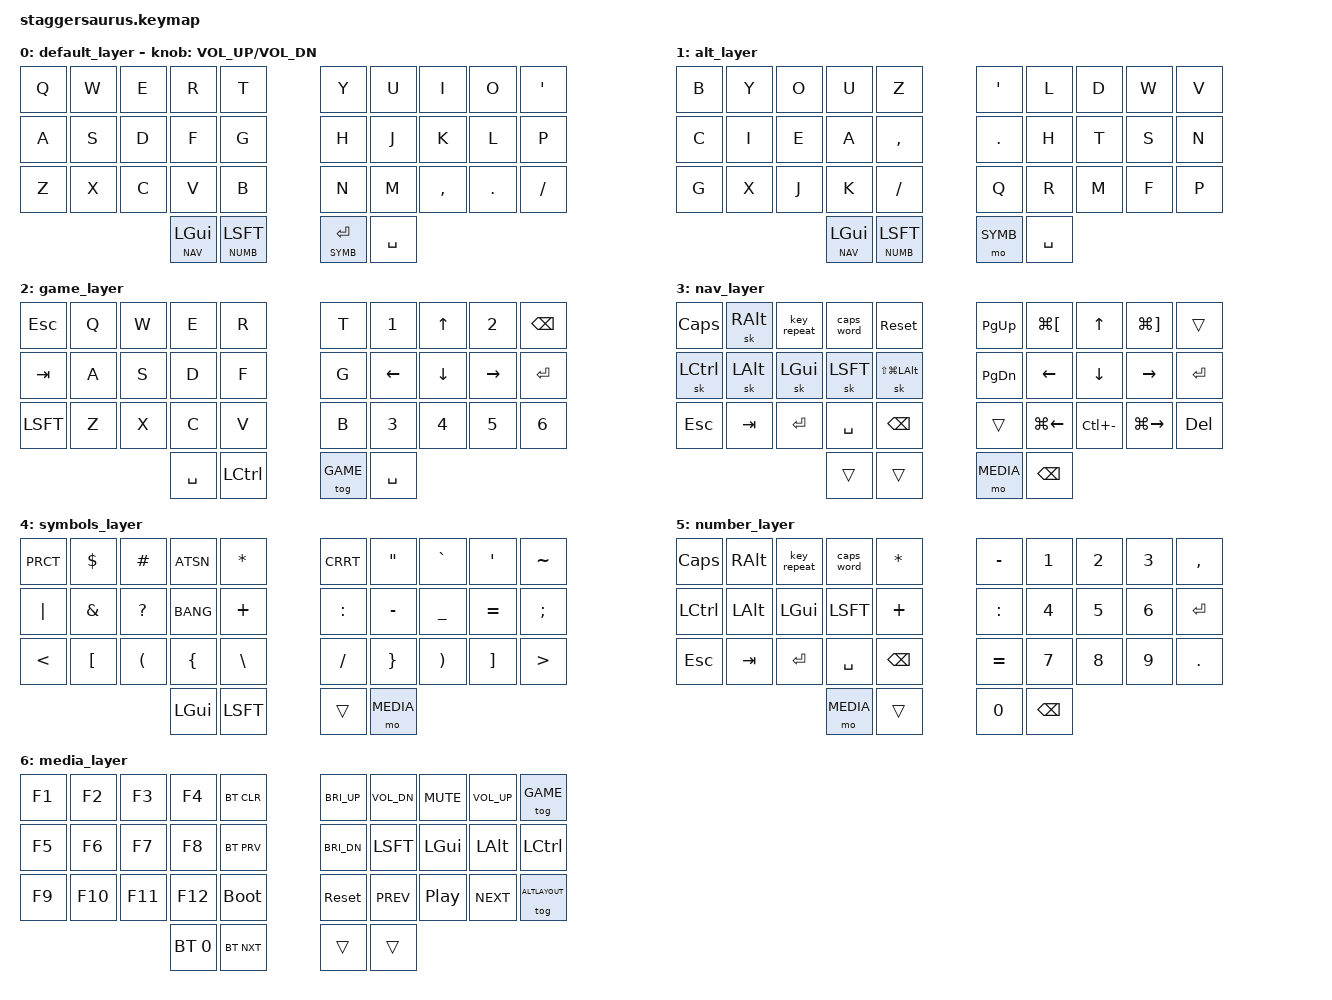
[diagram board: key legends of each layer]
/*
 * Copyright (c) 2020 The ZMK Contributors
 *
 * SPDX-License-Identifier: MIT
 */

#include <behaviors.dtsi>
#include <dt-bindings/zmk/keys.h>
#include <dt-bindings/zmk/bt.h>
// #include <dt-bindings/zmk/mouse.h>

#define DEFAULT 0
#define ALTLAYOUT 1
#define GAME 2
#define NAV 3
#define SYMB 4
#define NUMB 5
#define MEDIA 6
// #define MOUSE 7

&sk {
  release-after-ms = <500>;
  quick-release;
};

&sl {
  release-after-ms = <500>;
};

// &mmv {
//     time-to-max-speed-ms = <1000>;
//     acceleration-exponent=<1>;
// };

// &mwh {
//     time-to-max-speed-ms = <1000>;
//     acceleration-exponent=<1>;
// };

/ { 

  combos {
      compatible = "zmk,combos";
      combo_esc {
          timeout-ms = <50>;
          key-positions = <32 33>;
          bindings = <&kp ESC>;
      };
      combo_tab {
          timeout-ms = <50>;
          key-positions = <30 31>;
          bindings = <&kp TAB>;
      };
  };
  behaviors {
    uspace: underscore_space {
        compatible = "zmk,behavior-mod-morph";
        label = "UNDERSCORE_SPACE";
        #binding-cells = <0>;
        bindings = <&kp SPC>, <&kp UNDER>;
        mods = <(MOD_LSFT)>;
    };
    hlt: hold_layer_tap {
      compatible = "zmk,behavior-hold-tap";
      label = "HOLD_LAYER_TAP";
      #binding-cells = <2>;
      flavor = "hold-preferred";
      tapping-term-ms = <150>;
      bindings = <&mo>, <&kp>;
    };
    ml: mod_layer {
      compatible = "zmk,behavior-hold-tap";
      label = "MOD_LAYER";
      #binding-cells = <2>;
      flavor = "hold-preferred";
      tapping-term-ms = <150>;
      bindings = <&mo>, <&sk>;
    };
    hrm: home_row_mod {
        compatible = "zmk,behavior-hold-tap";
        label = "HOME_ROW_MOD";
        #binding-cells = <2>;
        flavor = "tap-preferred";
        tapping-term-ms = <200>;
        quick-tap-ms = <200>;
        require-prior-idle-ms = <125>;
        bindings = <&kp>, <&kp>;
    };
    // mouse_l: mouse_left {
    //   compatible = "zmk,behavior-mod-morph";
    //   label = "MOUSE_LEFT";
    //   #binding-cells = <0>;
    //   bindings = <&mmv MOVE_HOR(-5000)>, <&mmv MOVE_HOR(-2000)>;
    //   mods = <(MOD_LSFT|MOD_RSFT)>;
    // };
    // mouse_r: mouse_right {
    //   compatible = "zmk,behavior-mod-morph";
    //   label = "MOUSE_RIGHT";
    //   #binding-cells = <0>;
    //   bindings = <&mmv MOVE_HOR(5000)>, <&mmv MOVE_HOR(2000)>;
    //   mods = <(MOD_LSFT|MOD_RSFT)>;
    // };
    // mouse_u: mouse_up {
    //   compatible = "zmk,behavior-mod-morph";
    //   label = "MOUSE_UP";
    //   #binding-cells = <0>;
    //   bindings = <&mmv MOVE_VERT(-5000)>, <&mmv MOVE_VERT(-2000)>;
    //   mods = <(MOD_LSFT|MOD_RSFT)>;
    // };
    // mouse_d: mouse_down {
    //   compatible = "zmk,behavior-mod-morph";
    //   label = "MOUSE_DOWN";
    //   #binding-cells = <0>;
    //   bindings = <&mmv MOVE_VERT(5000)>, <&mmv MOVE_VERT(2000)>;
    //   mods = <(MOD_LSFT|MOD_RSFT)>;
    // };
  };

  keymap {
    compatible = "zmk,keymap";
    default_layer {
      bindings = <
        &kp Q        &kp W        &kp E        &kp R        &kp T           &kp Y  &kp U        &kp I        &kp O        &kp QUOT 
        &kp A        &kp S        &kp D        &kp F        &kp G           &kp H  &kp J        &kp K        &kp L        &kp P   
        &kp Z        &kp X        &kp C        &kp V        &kp B           &kp N  &kp M        &kp CMMA     &kp DOT      &kp FSLH
                                      &ml NAV LGUI  &ml NUMB LSFT           &hlt SYMB ENTER  &kp SPACE
      >;
      sensor-bindings = <&inc_dec_kp C_VOL_UP C_VOL_DN>;
    };

    // engram
    alt_layer {
      bindings = <
        &kp B  &kp Y  &kp O  &kp U  &kp Z              &kp QUOT  &kp L  &kp D  &kp W  &kp V 
        &kp C  &kp I  &kp E  &kp A  &kp CMMA           &kp DOT  &kp H  &kp T  &kp S  &kp N
        &kp G  &kp X  &kp J  &kp K  &kp FSLH           &kp Q  &kp R  &kp M  &kp F  &kp P
              &ml NAV LGUI  &ml NUMB LSFT              &mo SYMB  &kp SPC
      >;
    };

    game_layer {
      bindings = <
        &kp ESC  &kp Q  &kp W  &kp E  &kp R             &kp T  &kp N1  &kp UP  &kp N2  &kp BKSP 
        &kp TAB  &kp A  &kp S  &kp D  &kp F             &kp G  &kp LEFT  &kp DOWN  &kp RIGHT  &kp ENTER
        &kp LSFT  &kp Z  &kp X  &kp C  &kp V            &kp B  &kp N3  &kp N4  &kp N5  &kp N6
                          &kp SPC  &kp LCTL             &tog GAME  &kp SPC
        >;
    };

    nav_layer {
      bindings = <
        &kp CAPS  &sk RALT  &key_repeat   &caps_word  &sys_reset        &kp PG_UP     &kp LG(LBKT)    &kp UP          &kp LG(RBKT)    &trans 
        &sk LCTL  &sk LALT  &sk LGUI      &sk LSFT    &sk LS(LG(LALT))  &kp PG_DN     &kp LEFT        &kp DOWN        &kp RIGHT       &kp ENTER
        &kp ESC   &kp TAB   &kp ENTER     &kp SPC     &kp BKSP          &trans        &kp LG(LEFT)    &kp LC(MINUS)   &kp LG(RIGHT)   &kp DEL 
                                          &trans  &trans                &mo MEDIA  &kp BKSP
      >;
    };
      
    symbols_layer { // doubles / ? < > ' " (semi/colon to default?)
      bindings = <
        &kp PRCT  &kp DLLR  &kp HASH    &kp ATSN  &kp STAR        &kp CRRT    &kp DQT   &kp GRAV    &kp QUOT   &kp TILDE
        &kp PIPE  &kp AMPS  &kp QMARK   &kp BANG  &kp PLUS        &kp COLON   &kp MINUS  &kp UNDER   &kp EQUAL   &kp SEMI
        &kp LT    &kp LBKT  &kp LPAR    &kp LBRC  &kp BSLH        &kp FSLH    &kp RBRC  &kp RPAR    &kp RBKT    &kp GT
                                        &kp LGUI  &kp LSFT        &trans  &mo MEDIA 
      >;
    };	

    number_layer {
      bindings = <
        &kp CAPS  &kp RALT  &key_repeat   &caps_word  &kp STAR       &kp MINUS  &kp N1  &kp N2  &kp N3  &kp CMMA
        &kp LCTL  &kp LALT  &kp LGUI      &kp LSFT    &kp PLUS       &kp COLON  &kp N4  &kp N5  &kp N6  &kp ENTER 
        &kp ESC   &kp TAB   &kp ENTER     &kp SPC     &kp BKSP       &kp EQUAL  &kp N7  &kp N8  &kp N9  &kp DOT   
                                          &mo MEDIA  &trans          &kp N0 &kp BKSP
      >;
    };

    media_layer {
      bindings = <
        &kp F1  &kp F2    &kp F3    &kp F4    &bt BT_CLR            &kp C_BRI_UP  &kp C_VOL_DN  &kp C_MUTE  &kp C_VOL_UP  &tog GAME
        &kp F5  &kp F6    &kp F7    &kp F8    &bt BT_PRV            &kp C_BRI_DN  &kp LSFT      &kp LGUI    &kp LALT      &kp LCTL 
        &kp F9  &kp F10   &kp F11   &kp F12   &bootloader           &sys_reset    &kp C_PREV    &kp C_PP    &kp C_NEXT    &tog ALTLAYOUT   
                                &bt BT_SEL 0 &bt BT_NXT             &trans &trans
      >;
    };

    // mouse_layer {
    //   bindings = <
    //     &tog  MOUSE  &kp RALT  &kp LC(LEFT)  &kp LC(RIGHT)  &kp LC(UP)        &kp PG_UP  &mwh SCROLL_VERT(-40)  &mouse_u  &mkp MCLK  &mkp MB5 
    //     &kp LCTL  &kp LALT  &kp LGUI  &kp LSFT  &kp SPC                       &kp PG_DN  &mouse_l  &mouse_d  &mouse_r  &tog MOUSE
    //     &kp ESC  &kp LC(DOWN)  &kp LG(C)  &kp LG(V)  &kp BKSP                 &kp LC(UP)  &mwh SCROLL_VERT(40)  &mwh SCROLL_HOR(40)  &mwh SCROLL_HOR(-40)  &mkp MB4 
    //                                 &trans  &trans                            &mkp RCLK  &mkp LCLK
    //   >;
    // };
  };
};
